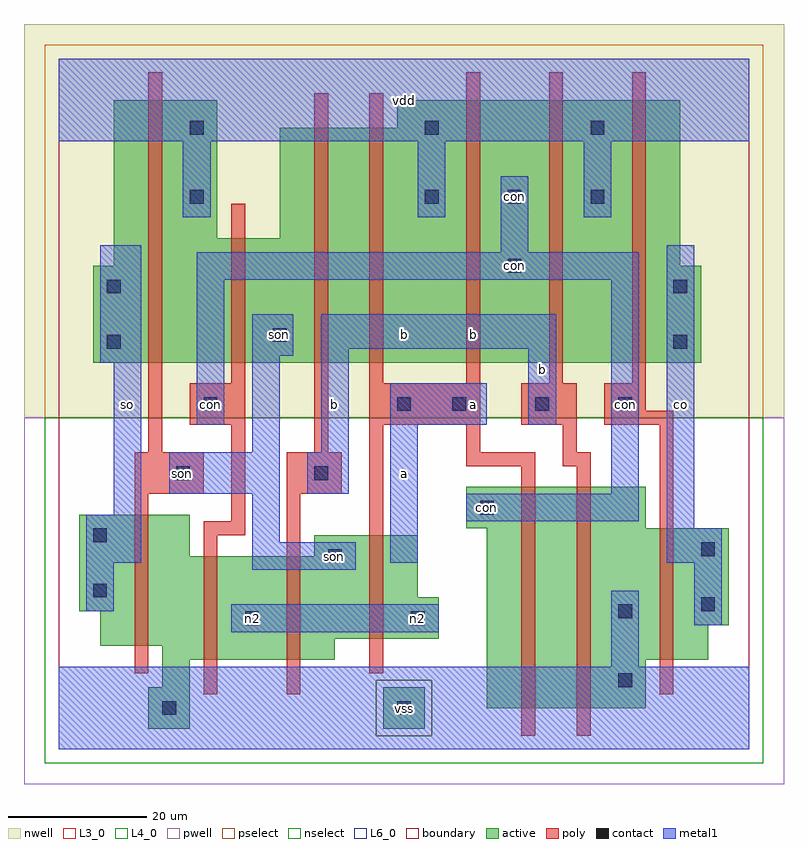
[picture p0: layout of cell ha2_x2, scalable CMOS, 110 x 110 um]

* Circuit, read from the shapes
.subckt ha2_x2 a b co con n2 so son vdd vss
M1 vss son so vss nfet w=19u l=2u
M2 n2 con vss vss nfet w=15u l=2u
M3 son b n2 vss nfet w=15u l=2u
M4 n2 a son vss nfet w=15u l=2u
M5 n1 a con vss nfet w=32u l=2u
M6 vss b n1 vss nfet w=32u l=2u
M7 co con vss vss nfet w=19u l=2u
M8 vdd son so n3 pfet w=38u l=2u
M9 son con vdd n3 pfet w=18u l=2u
M10 n4 b son n3 pfet w=34u l=2u
M11 vdd a n4 n3 pfet w=34u l=2u
M12 con a vdd n3 pfet w=38u l=2u
M13 vdd b con n3 pfet w=38u l=2u
M14 co con vdd n3 pfet w=38u l=2u
.ends

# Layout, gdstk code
import gdstk
lib = gdstk.Library(unit=1e-6, precision=1e-09)
def R(c, l, rs):  # rectangles x0, y0, x1, y1
    for r in rs: c.add(gdstk.rectangle(r[:2], r[2:], *l))
def A(c, l, x, y, w, h, nx, ny, dx, dy):  # array of equal rectangles
    R(c, l, [(x+i*dx, y+j*dy, x+i*dx+w, y+j*dy+h) for i in range(nx) for j in range(ny)])
L3_0 = (3, 0)
L4_0 = (4, 0)
L6_0 = (6, 0)
contact = (25, 0)
pwell = (41, 0)
nwell = (42, 0)
active = (43, 0)
pselect = (44, 0)
nselect = (45, 0)
poly = (46, 0)
metal1 = (49, 0)
boundary = (63, 0)

ha2_x2 = lib.new_cell('ha2_x2')
R(ha2_x2, L3_0, [(13,3,19,9), (62,6,85,13), (15,9,19,13), (15,13,40,15), (62,13,94,18), (6,15,40,16), (6,16,55,20), (62,18,97,32), (3,20,55,22), (3,22,52,28), (3,28,19,34), (37,28,52,31), (59,32,85,38)])
R(ha2_x2, L4_0, [(5,56,93,70), (8,70,90,74), (8,74,23,94), (32,74,90,90), (49,90,90,94)])
R(ha2_x2, L6_0, [(47,3,53,9)])
A(ha2_x2, contact, 57, 49, 2, 2, 3, 1, 12, 0)
A(ha2_x2, contact, 53, 79, 2, 2, 3, 1, 12, 0)
R(ha2_x2, contact, [(15,5,17,7), (49,5,51,7), (81,9,83,11), (27,18,29,20), (51,18,53,20), (81,19,83,21), (93,20,95,22), (5,22,7,24), (39,27,41,29), (93,28,95,30), (5,30,7,32), (61,34,63,36), (17,39,19,41), (37,39,39,41), (21,49,23,51), (49,49,51,51), (7,58,9,60), (89,58,91,60), (31,59,33,61), (7,66,9,68), (89,66,91,68), (65,69,67,71), (19,79,21,81), (19,89,21,91), (53,89,55,91), (77,89,79,91)])
R(ha2_x2, pwell, [(-5,-5,105,48)])
R(ha2_x2, nwell, [(-5,48,105,105)])
R(ha2_x2, active, [(13,3,19,9), (47,3,53,9), (62,6,85,13), (15,9,19,13), (15,13,40,15), (62,13,94,18), (6,15,40,16), (6,16,55,20), (62,18,97,32), (3,20,55,22), (3,22,52,28), (3,28,19,34), (37,28,52,31), (59,32,85,38), (5,56,93,70), (8,70,90,74), (8,74,23,94), (32,74,90,90), (49,90,90,94)])
R(ha2_x2, pselect, [(46,2,54,10), (-2,48,102,102)])
R(ha2_x2, nselect, [(-2,-2,102,2), (-2,2,46,10), (54,2,102,10), (-2,10,102,48)])
A(ha2_x2, poly, 59, 53, 2, 45, 3, 1, 12, 0)
R(ha2_x2, poly, [(67,2,69,41), (75,2,77,41), (21,8,23,31), (33,8,35,37), (87,8,89,47), (11,11,13,37), (45,11,47,47), (21,31,27,33), (25,33,27,47), (11,37,21,43), (33,37,41,43), (59,41,69,43), (73,41,77,43), (13,43,15,98), (37,43,39,95), (59,43,61,47), (73,43,75,47), (19,47,27,53), (45,47,61,53), (67,47,75,53), (79,47,89,49), (79,49,85,53), (25,53,27,79), (45,53,47,95)])
R(ha2_x2, metal1, [(0,0,100,12), (80,12,84,23), (25,17,55,21), (92,18,96,27), (4,20,8,27), (28,26,43,30), (4,27,12,34), (48,27,52,47), (88,27,96,32), (28,30,32,37), (88,32,92,73), (59,33,84,37), (8,34,12,56), (16,37,32,43), (36,37,42,43), (80,37,84,68), (28,43,32,57), (38,43,42,58), (20,47,24,68), (48,47,62,53), (68,47,72,58), (6,56,12,73), (28,57,34,63), (38,58,72,63), (20,68,84,72), (64,72,68,83), (18,77,22,88), (52,77,56,88), (76,77,80,88), (0,88,100,100)])
R(ha2_x2, boundary, [(0,0,100,100)])
ha2_x2.add(gdstk.Label('son', (18,40), layer=49, texttype=0))
ha2_x2.add(gdstk.Label('con', (22,50), layer=49, texttype=0))
ha2_x2.add(gdstk.Label('n2', (28,19), layer=49, texttype=0))
ha2_x2.add(gdstk.Label('son', (40,28), layer=49, texttype=0))
ha2_x2.add(gdstk.Label('son', (32,60), layer=49, texttype=0))
ha2_x2.add(gdstk.Label('n2', (52,19), layer=49, texttype=0))
ha2_x2.add(gdstk.Label('con', (62,35), layer=49, texttype=0))
ha2_x2.add(gdstk.Label('con', (66,70), layer=49, texttype=0))
ha2_x2.add(gdstk.Label('con', (66,80), layer=49, texttype=0))
ha2_x2.add(gdstk.Label('con', (82,50), layer=49, texttype=0))
ha2_x2.add(gdstk.Label('so', (10,50), layer=49, texttype=0))
ha2_x2.add(gdstk.Label('b', (40,50), layer=49, texttype=0))
ha2_x2.add(gdstk.Label('vss', (50,6), layer=49, texttype=0))
ha2_x2.add(gdstk.Label('a', (50,40), layer=49, texttype=0))
ha2_x2.add(gdstk.Label('a', (60,50), layer=49, texttype=0))
ha2_x2.add(gdstk.Label('b', (50,60), layer=49, texttype=0))
ha2_x2.add(gdstk.Label('b', (60,60), layer=49, texttype=0))
ha2_x2.add(gdstk.Label('b', (70,55), layer=49, texttype=0))
ha2_x2.add(gdstk.Label('vdd', (50,94), layer=49, texttype=0))
ha2_x2.add(gdstk.Label('co', (90,50), layer=49, texttype=0))

lib.write_gds('ha2_x2.gds')
